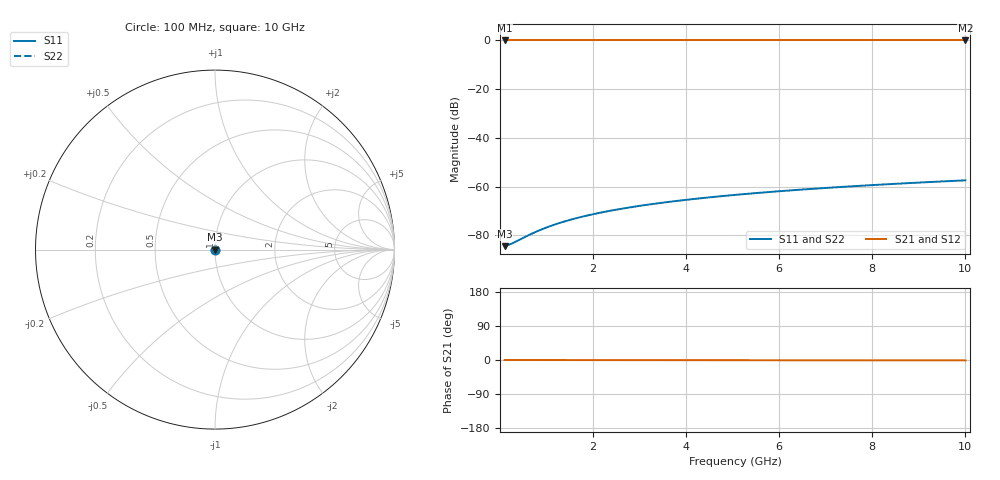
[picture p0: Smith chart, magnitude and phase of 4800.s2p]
# Hz S RI R 50.00
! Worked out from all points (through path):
!   100 points, 100 MHz to 10 GHz, reference 50 ohm
!   highest |S21| = 0.00 dB at 100 MHz (marker M1); lowest = 0.0 dB at 10 GHz (marker M2)
!   lowest |S11| = -84.4 dB at 100 MHz (marker M3), VSWR 1.00, Z = 50 - j0.00132 ohm
!   |S11| at or under -10 dB: start of sweep to end of sweep
!   |S22| runs from -84.4 to -57.4 dB; largest |S21 - S12| = 0
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1e8  5.86e-05 -1.32e-05  0.9999 -0.000188  0.9999 -0.000188  5.86e-05 -1.32e-05
6e8  5.94e-05 -7.95e-05  0.9999 -0.00113  0.9999 -0.00113  5.94e-05 -7.95e-05
9e8  5.95e-05 -0.000119  0.9999 -0.00169  0.9999 -0.00169  5.95e-05 -0.000119
1e9  5.95e-05 -0.000133  0.9999 -0.00188  0.9999 -0.00188  5.95e-05 -0.000133
1.2e9  5.94e-05 -0.000159  0.9999 -0.00225  0.9999 -0.00225  5.94e-05 -0.000159
1.3e9  5.94e-05 -0.000172  0.9999 -0.00244  0.9999 -0.00244  5.94e-05 -0.000172
1.5e9  5.93e-05 -0.000199  0.9999 -0.00281  0.9999 -0.00281  5.93e-05 -0.000199
1.8e9  5.91e-05 -0.000239  0.9999 -0.00338  0.9999 -0.00338  5.91e-05 -0.000239
2.1e9  5.88e-05 -0.000279  0.9999 -0.00394  0.9999 -0.00394  5.88e-05 -0.000279
2.5e9  5.83e-05 -0.000332  0.9999 -0.00469  0.9999 -0.00469  5.83e-05 -0.000332
2.9e9  5.77e-05 -0.000386  0.9999 -0.00544  0.9999 -0.00544  5.77e-05 -0.000386
3.4e9  5.68e-05 -0.000453  0.9999 -0.00638  0.9999 -0.00638  5.68e-05 -0.000453
3.8e9  5.6e-05 -0.000507  0.9999 -0.00714  0.9999 -0.00714  5.6e-05 -0.000507
4.2e9  5.52e-05 -0.000561  0.9999 -0.00789  0.9999 -0.00789  5.52e-05 -0.000561
4.6e9  5.42e-05 -0.000615  0.9999 -0.00864  0.9999 -0.00864  5.42e-05 -0.000615
5.1e9  5.29e-05 -0.000682  0.9999 -0.00959  0.9999 -0.00959  5.29e-05 -0.000682
5.9e9  5.05e-05 -0.00079  0.9999 -0.0111  0.9999 -0.0111  5.05e-05 -0.00079
6.7e9  4.77e-05 -0.000899  0.9998 -0.0126  0.9998 -0.0126  4.77e-05 -0.000899
7.5e9  4.47e-05 -0.00101  0.9998 -0.0141  0.9998 -0.0141  4.47e-05 -0.00101
8.4e9  4.08e-05 -0.00113  0.9998 -0.0158  0.9998 -0.0158  4.08e-05 -0.00113
9.2e9  3.71e-05 -0.00124  0.9998 -0.0173  0.9998 -0.0173  3.71e-05 -0.00124
1e10  3.3e-05 -0.00135  0.9997 -0.0189  0.9997 -0.0189  3.3e-05 -0.00135
